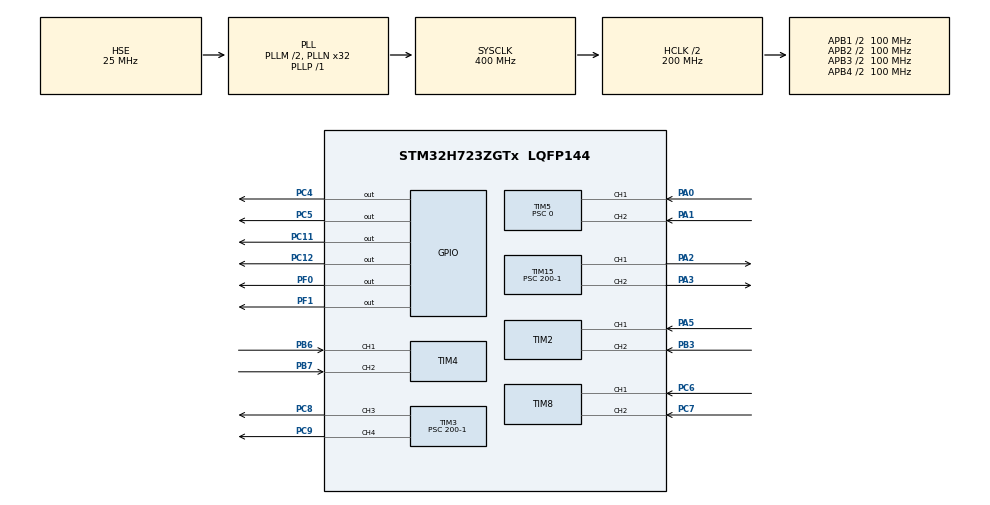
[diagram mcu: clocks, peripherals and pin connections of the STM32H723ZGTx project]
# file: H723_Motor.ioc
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Mcu.Family=STM32H7
Mcu.Name=STM32H723ZGTx
Mcu.Package=LQFP144
NVIC.PriorityGroup=NVIC_PRIORITYGROUP_4
PA0.Signal=S_TIM5_CH1
PA1.Signal=S_TIM5_CH2
PA13(JTMS/SWDIO).Mode=Serial_Wire
PA13(JTMS/SWDIO).Signal=DEBUG_JTMS-SWDIO
PA14(JTCK/SWCLK).Mode=Serial_Wire
PA14(JTCK/SWCLK).Signal=DEBUG_JTCK-SWCLK
PA2.Signal=S_TIM15_CH1
PA3.Signal=S_TIM15_CH2
PA5.Signal=S_TIM2_CH1_ETR
PB3(JTDO/TRACESWO).Signal=S_TIM2_CH2
PB6.Signal=S_TIM4_CH1
PB7.Signal=S_TIM4_CH2
PC11.Signal=GPIO_Output
PC12.Signal=GPIO_Output
PC4.Signal=GPIO_Output
PC5.Signal=GPIO_Output
PC6.Signal=S_TIM8_CH1
PC7.Signal=S_TIM8_CH2
PC8.Signal=S_TIM3_CH3
PC9.Signal=S_TIM3_CH4
PF0.GPIO_ModeDefaultOutputPP=GPIO_MODE_OUTPUT_PP
PF0.GPIO_PuPd=GPIO_PULLUP
PF0.Signal=GPIO_Output
PF1.GPIO_PuPd=GPIO_PULLUP
PF1.Signal=GPIO_Output
PH0-OSC_IN.Mode=HSE-External-Oscillator
PH0-OSC_IN.Signal=RCC_OSC_IN
PH1-OSC_OUT.Mode=HSE-External-Oscillator
PH1-OSC_OUT.Signal=RCC_OSC_OUT
ProjectManager.HeapSize=0x200
ProjectManager.StackSize=0x400
ProjectManager.TargetToolchain=MDK-ARM V5.32
RCC.ADCFreq_Value=100000000
RCC.APB1Freq_Value=100000000
RCC.APB2Freq_Value=100000000
RCC.APB3Freq_Value=100000000
RCC.APB4Freq_Value=100000000
RCC.CortexFreq_Value=400000000
RCC.D1PPRE=RCC_APB3_DIV2
RCC.D2PPRE1=RCC_APB1_DIV2
RCC.D2PPRE2=RCC_APB2_DIV2
RCC.D3PPRE=RCC_APB4_DIV2
RCC.DIVM1=2
RCC.DIVM2=2
RCC.DIVN1=32
RCC.DIVN2=16
RCC.DIVP1=1
RCC.HCLKFreq_Value=200000000
RCC.HPRE=RCC_HCLK_DIV2
RCC.PLL2FRACN=0
RCC.PLL3FRACN=0
RCC.PLLFRACN=0
RCC.PLLSourceVirtual=RCC_PLLSOURCE_HSE
RCC.SYSCLKFreq_VALUE=400000000
RCC.SYSCLKSource=RCC_SYSCLKSOURCE_PLLCLK
RCC.USBFreq_Value=200000000
SH.S_TIM15_CH1.0=TIM15_CH1,PWM Generation1 CH1
SH.S_TIM15_CH2.0=TIM15_CH2,PWM Generation2 CH2
SH.S_TIM2_CH1_ETR.0=TIM2_CH1,Encoder_Interface
SH.S_TIM2_CH2.0=TIM2_CH2,Encoder_Interface
SH.S_TIM3_CH3.0=TIM3_CH3,PWM Generation3 CH3
SH.S_TIM3_CH4.0=TIM3_CH4,PWM Generation4 CH4
SH.S_TIM4_CH1.0=TIM4_CH1,Encoder_Interface
SH.S_TIM4_CH2.0=TIM4_CH2,Encoder_Interface
SH.S_TIM5_CH1.0=TIM5_CH1,Encoder_Interface
SH.S_TIM5_CH2.0=TIM5_CH2,Encoder_Interface
SH.S_TIM8_CH1.0=TIM8_CH1,Encoder_Interface
SH.S_TIM8_CH2.0=TIM8_CH2,Encoder_Interface
TIM15.Channel-PWM\ Generation1\ CH1=TIM_CHANNEL_1
TIM15.Channel-PWM\ Generation2\ CH2=TIM_CHANNEL_2
TIM15.Period=1000-1
TIM15.Prescaler=200-1
TIM2.EncoderMode=TIM_ENCODERMODE_TI12
TIM2.IC1Filter=0xF
TIM2.IC1Prescaler=TIM_ICPSC_DIV8
TIM2.IC2Filter=0xF
TIM2.IC2Prescaler=TIM_ICPSC_DIV8
TIM3.Channel-PWM\ Generation3\ CH3=TIM_CHANNEL_3
TIM3.Channel-PWM\ Generation4\ CH4=TIM_CHANNEL_4
TIM3.Period=1000-1
TIM3.Prescaler=200-1
TIM3.Pulse-PWM\ Generation3\ CH3=500
TIM3.Pulse-PWM\ Generation4\ CH4=500
TIM4.EncoderMode=TIM_ENCODERMODE_TI12
TIM4.IC1Filter=0xF
TIM4.IC1Prescaler=TIM_ICPSC_DIV8
TIM4.IC2Filter=0xF
TIM4.IC2Prescaler=TIM_ICPSC_DIV8
TIM5.AutoReloadPreload=TIM_AUTORELOAD_PRELOAD_ENABLE
TIM5.EncoderMode=TIM_ENCODERMODE_TI12
TIM5.IC1Filter=0xF
TIM5.IC1Prescaler=TIM_ICPSC_DIV8
TIM5.IC2Filter=0xF
TIM5.IC2Prescaler=TIM_ICPSC_DIV8
TIM5.Period=65535
TIM5.Prescaler=0
TIM8.EncoderMode=TIM_ENCODERMODE_TI12
TIM8.IC1Filter=0xF
TIM8.IC1Prescaler=TIM_ICPSC_DIV8
TIM8.IC2Filter=0xF
TIM8.IC2Prescaler=TIM_ICPSC_DIV8
VP_TIM15_VS_ClockSourceINT.Mode=Internal
VP_TIM3_VS_ClockSourceINT.Mode=Internal
board=custom

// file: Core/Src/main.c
/* USER CODE BEGIN Header */
/**
  ******************************************************************************
  * @file           : main.c
  * @brief          : Main program body
  ******************************************************************************
  * @attention
  *
  * Copyright (c) 2025 STMicroelectronics.
  * All rights reserved.
  *
  * This software is licensed under terms that can be found in the LICENSE file
  * in the root directory of this software component.
  * If no LICENSE file comes with this software, it is provided AS-IS.
  *
  ******************************************************************************
  */
/* USER CODE END Header */
#include "main.h"
#include "tim.h"
#include "gpio.h"

/* USER CODE BEGIN Includes */
#include "Delay.h"
#include "OLED.h"
#include "MadgwickAHRS.h"
#include "MPU6050.h"
#include "software_iic.h"
#include "stdio.h"
#include "string.h"
#include "Huidu.h"
/* USER CODE END Includes */

/* USER CODE BEGIN PD */
MPU6050Params mpu6050 = {
        .MPU6050dt = 10,
        .preMillis = 0,
        .MPU6050ERROE = {0.0f, 0.0f, 0.0f, 0.0f, 0.0f, 0.0f}
};

SensorMsg msg = {
        .A = {0.0f, 0.0f, 0.0f},
        .G = {0.0f, 0.0f, 0.0f}
};

int16_t AX, AY, AZ, GX, GY, GZ;
float x,y,z;
float Yaw = 0;
float Pitch = 0;
float Roll = 0;
float Yaw_copy = 0; // 用于记录Yaw角度的副�?????????
float Pitch_copy = 0; // 用于记录Pitch角度的副�?????????
float Roll_copy = 0; // 用于记录Roll角度的副�?????????
/* USER CODE END PD */

void SystemClock_Config(void);

/* USER CODE BEGIN 0 */
unsigned char Digtal;
unsigned char Anolog[8]={0};
unsigned char rx_buff[256]={0};
unsigned char Normal[8]={0};
/* USER CODE END 0 */

int main(void)
{

  /* MCU Configuration--------------------------------------------------------*/

  /* Reset of all peripherals, Initializes the Flash interface and the Systick. */
  HAL_Init();

  /* Configure the system clock */
  SystemClock_Config();

  /* Initialize all configured peripherals */
  MX_GPIO_Init();
  MX_TIM5_Init();
  MX_TIM3_Init();
  MX_TIM2_Init();
  MX_TIM4_Init();
  MX_TIM8_Init();
  MX_TIM15_Init();
  /* USER CODE BEGIN 2 */

  DWT_Init();
//  HAL_TIM_PWM_Start(&htim15,TIM_CHANNEL_1);
//  HAL_TIM_PWM_Start(&htim15,TIM_CHANNEL_2);
//  HAL_TIM_PWM_Start(&htim3,TIM_CHANNEL_3);
//  HAL_TIM_PWM_Start(&htim3,TIM_CHANNEL_4);
//  __HAL_TIM_SetCompare(&htim15,TIM_CHANNEL_1,1000);
//  __HAL_TIM_SetCompare(&htim15,TIM_CHANNEL_2,1000);
//  __HAL_TIM_SetCompare(&htim3,TIM_CHANNEL_3,1000);
//  __HAL_TIM_SetCompare(&htim3,TIM_CHANNEL_4,1000);

//	Huidu_Init();
//	Huidu_GetNum_Start();

  HAL_TIM_Encoder_Start(&htim2,TIM_CHANNEL_ALL);
  HAL_TIM_Encoder_Start(&htim4,TIM_CHANNEL_ALL);
  HAL_TIM_Encoder_Start(&htim5,TIM_CHANNEL_ALL);
  HAL_TIM_Encoder_Start(&htim8,TIM_CHANNEL_ALL);

  OLED_Init();
  OLED_Clear();

  //OLED_ShowString(0,0,"Hello!",OLED_8X16);
  OLED_Update();

  int encoder_a = 0;
  int encoder_b;
  int encoder_c;
  int encoder_d;

	Delay_ms(100);
	MPU6050_Init();
	begin(1000.0f / (float)mpu6050.MPU6050dt);    // Initialize the Madgwick filter with the sample frequency
  dataGetERROR();

  /* USER CODE END 2 */

  /* Infinite loop */
  while (1)
  {

    /* USER CODE BEGIN 3 */
    // encoder_a = htim2.Instance->CNT;
    // encoder_b = htim4.Instance->CNT;
    // encoder_c = htim5.Instance->CNT;
    // encoder_d = htim8.Instance->CNT;

    if(uwTick - mpu6050.preMillis >= mpu6050.MPU6050dt) {
			mpu6050.preMillis = uwTick;
			dataGetAndFilter();
			updateIMU(msg.G[0], msg.G[1], msg.G[2], msg.A[0], msg.A[1], msg.A[2]);
		}
		Yaw = getYaw();
		Pitch = getPitch();
		Roll = getRoll();

     OLED_ShowFloatNum(4*16,0,Yaw,4,2,OLED_8X16);
     OLED_ShowFloatNum(4*16,1*16,Pitch,4,2,OLED_8X16);
     OLED_ShowFloatNum(4*16,2*16,Roll,4,2,OLED_8X16);
		int a = Ping();
    //OLED_ShowNum(4*6,0,a,4,OLED_8X16);

    encoder_a = __HAL_TIM_GET_COUNTER(&htim2);
    encoder_b = __HAL_TIM_GET_COUNTER(&htim4);
    encoder_c = __HAL_TIM_GET_COUNTER(&htim5);
    encoder_d = __HAL_TIM_GET_COUNTER(&htim8);

//    OLED_ShowSignedNum(0,1*16,encoder_a,5,OLED_8X16);
//    OLED_ShowSignedNum(0,2*16,encoder_b,5,OLED_8X16);
//    OLED_ShowSignedNum(0,3*16,encoder_c,5,OLED_8X16);
//    OLED_ShowSignedNum(0,0*16,encoder_d,5,OLED_8X16);
    OLED_Update();

  }
  /* USER CODE END 3 */
}

void SystemClock_Config(void)
{
  RCC_OscInitTypeDef RCC_OscInitStruct = {0};
  RCC_ClkInitTypeDef RCC_ClkInitStruct = {0};

  /** Supply configuration update enable
  */
  HAL_PWREx_ConfigSupply(PWR_LDO_SUPPLY);

  /** Configure the main internal regulator output voltage
  */
  __HAL_PWR_VOLTAGESCALING_CONFIG(PWR_REGULATOR_VOLTAGE_SCALE1);

  while(!__HAL_PWR_GET_FLAG(PWR_FLAG_VOSRDY)) {}

  /** Initializes the RCC Oscillators according to the specified parameters
  * in the RCC_OscInitTypeDef structure.
  */
  RCC_OscInitStruct.OscillatorType = RCC_OSCILLATORTYPE_HSE;
  RCC_OscInitStruct.HSEState = RCC_HSE_ON;
  RCC_OscInitStruct.PLL.PLLState = RCC_PLL_ON;
  RCC_OscInitStruct.PLL.PLLSource = RCC_PLLSOURCE_HSE;
  RCC_OscInitStruct.PLL.PLLM = 2;
  RCC_OscInitStruct.PLL.PLLN = 32;
  RCC_OscInitStruct.PLL.PLLP = 1;
  RCC_OscInitStruct.PLL.PLLQ = 2;
  RCC_OscInitStruct.PLL.PLLR = 2;
  RCC_OscInitStruct.PLL.PLLRGE = RCC_PLL1VCIRANGE_3;
  RCC_OscInitStruct.PLL.PLLVCOSEL = RCC_PLL1VCOWIDE;
  RCC_OscInitStruct.PLL.PLLFRACN = 0;
  if (HAL_RCC_OscConfig(&RCC_OscInitStruct) != HAL_OK)
  {
    Error_Handler();
  }

  /** Initializes the CPU, AHB and APB buses clocks
  */
  RCC_ClkInitStruct.ClockType = RCC_CLOCKTYPE_HCLK|RCC_CLOCKTYPE_SYSCLK
                              |RCC_CLOCKTYPE_PCLK1|RCC_CLOCKTYPE_PCLK2
                              |RCC_CLOCKTYPE_D3PCLK1|RCC_CLOCKTYPE_D1PCLK1;
  RCC_ClkInitStruct.SYSCLKSource = RCC_SYSCLKSOURCE_PLLCLK;
  RCC_ClkInitStruct.SYSCLKDivider = RCC_SYSCLK_DIV1;
  RCC_ClkInitStruct.AHBCLKDivider = RCC_HCLK_DIV2;
  RCC_ClkInitStruct.APB3CLKDivider = RCC_APB3_DIV2;
  RCC_ClkInitStruct.APB1CLKDivider = RCC_APB1_DIV2;
  RCC_ClkInitStruct.APB2CLKDivider = RCC_APB2_DIV2;
  RCC_ClkInitStruct.APB4CLKDivider = RCC_APB4_DIV2;

  if (HAL_RCC_ClockConfig(&RCC_ClkInitStruct, FLASH_LATENCY_2) != HAL_OK)
  {
    Error_Handler();
  }
}

/* USER CODE BEGIN 4 */
void dataGetERROR() {
    for(uint8_t i = 0; i < 100; ++i) {
        getMPU6050Data();
        mpu6050.MPU6050ERROE[0] += msg.A[0];
        mpu6050.MPU6050ERROE[1] += msg.A[1];
        mpu6050.MPU6050ERROE[2] += msg.A[2] - 9.79;
        mpu6050.MPU6050ERROE[3] += msg.G[0];
        mpu6050.MPU6050ERROE[4] += msg.G[1];
        mpu6050.MPU6050ERROE[5] += msg.G[2];
        Delay_ms(10);
    }
    for(uint8_t i = 0; i < 6; ++i) {
        mpu6050.MPU6050ERROE[i] /= 100.0f;
    }
}

void getMPU6050Data() {
    MPU6050_GetData(&AX, &AY, &AZ, &GX, &GY, &GZ);		// Get data from MPU6050
    msg.A[0] = (float)((float)AX / (float)32768) * 16 * 9.8*(90.0/75.0)*(180.0/38.8);
    msg.A[1] = (float)((float)AY / (float)32768) * 16 * 9.8*(90.0/75.0)*(180.0/38.8);
    msg.A[2] = (float)((float)AZ / (float)32768) * 16 * 9.8*(90.0/75.0)*(180.0/38.8);
    msg.G[0] = (float)((float)GX / (float)32768) * 2000 * 3.5 *(90.0/172.0)*(90.0/84.0)*(180.0/38.8);
    msg.G[1] = (float)((float)GY / (float)32768) * 2000 * 3.5 *(90.0/172.0)*(90.0/84.0)*(180.0/38.8);
    msg.G[2] = (float)((float)GZ / (float)32768) * 2000 * 3.5 *(90.0/172.0)*(90.0/84.0)*(180.0/38.8);

}

void dataGetAndFilter() {
    getMPU6050Data();
    msg.A[0] -= mpu6050.MPU6050ERROE[0];
    msg.A[1] -= mpu6050.MPU6050ERROE[1];
    msg.A[2] -= mpu6050.MPU6050ERROE[2];
    msg.G[0] -= mpu6050.MPU6050ERROE[3];
    msg.G[1] -= mpu6050.MPU6050ERROE[4];
    msg.G[2] -= mpu6050.MPU6050ERROE[5];
}

/* USER CODE END 4 */

void Error_Handler(void)
{
  __disable_irq();
  while (1)
  {
  }
}
